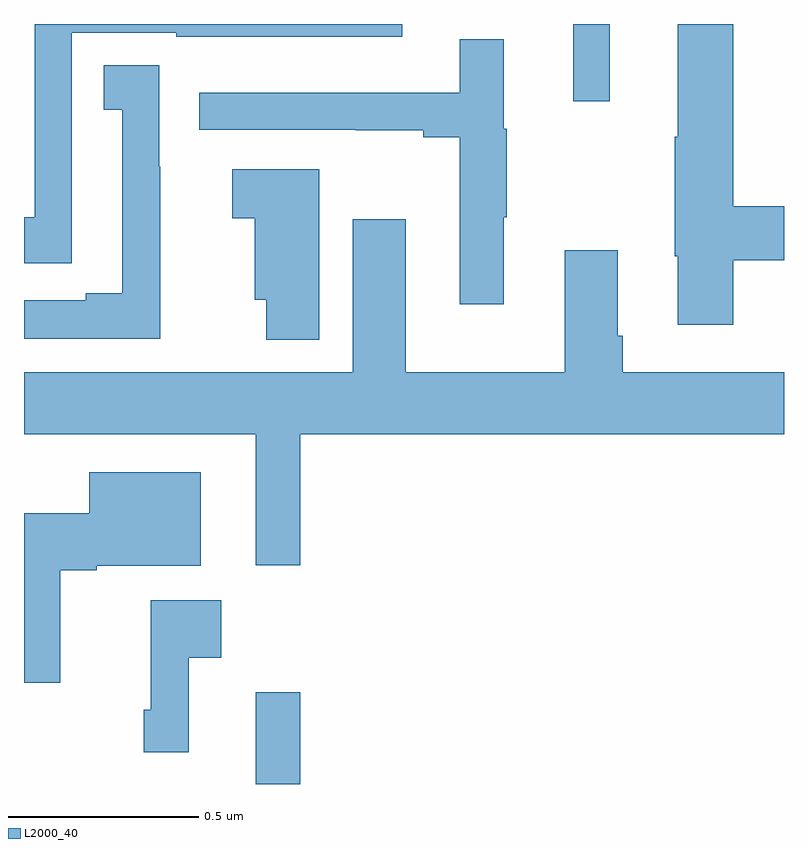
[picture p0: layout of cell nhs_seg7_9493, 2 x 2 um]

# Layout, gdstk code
import gdstk
lib = gdstk.Library(unit=1e-6, precision=1e-09)
def R(c, l, rs):  # rectangles x0, y0, x1, y1
    for r in rs: c.add(gdstk.rectangle(r[:2], r[2:], *l))
def P(c, l, *ps):  # polygons
    for p in ps: c.add(gdstk.Polygon(p, *l))
L2000_40 = (2000, 40)

nhs_seg7_9493 = lib.new_cell('nhs_seg7_9493')
R(nhs_seg7_9493, L2000_40, [(238.61,1029,238.727,1029.241), (239.445,1030.797,239.542,1031)])
P(nhs_seg7_9493, L2000_40, [(239.867,1030.378),(240,1030.378),(240,1030.52),(239.867,1030.52),(239.867,1031),(239.72,1031),(239.72,1030.703),(239.713,1030.703),(239.713,1030.389),(239.72,1030.389),(239.72,1030.209),(239.867,1030.209)],
  [(238.126,1030.694),(238.125,1030.694),(238.125,1030.977),(238.401,1030.977),(238.401,1030.967),(238.996,1030.967),(238.996,1031),(238.028,1031),(238.028,1030.491),(238,1030.491),(238,1030.371),(238.126,1030.371)],
  [(239.263,1030.492),(239.271,1030.492),(239.271,1030.725),(239.263,1030.725),(239.263,1030.96),(239.147,1030.96),(239.147,1030.819),(238.461,1030.819),(238.461,1030.722),(238.873,1030.722),(238.873,1030.72),(239.051,1030.72),(239.051,1030.702),(239.147,1030.702),(239.147,1030.263),(239.263,1030.263)],
  [(238.359,1030.625),(238.356,1030.625),(238.356,1030.892),(238.21,1030.892),(238.21,1030.774),(238.259,1030.774),(238.259,1030.291),(238.163,1030.291),(238.163,1030.273),(238,1030.273),(238,1030.172),(238.359,1030.172)],
  [(238.777,1030.618),(238.548,1030.618),(238.548,1030.489),(238.607,1030.489),(238.607,1030.274),(238.637,1030.274),(238.637,1030.169),(238.777,1030.169)],
  [(238.727,1029.92),(240,1029.92),(240,1030.084),(239.576,1030.084),(239.576,1030.18),(239.563,1030.18),(239.563,1030.405),(239.423,1030.405),(239.423,1030.084),(239.005,1030.084),(239.005,1030.486),(238.865,1030.486),(238.865,1030.084),(238,1030.084),(238,1029.92),(238.61,1029.92),(238.61,1029.576),(238.727,1029.576)],
  [(238.096,1029.563),(238.192,1029.563),(238.192,1029.575),(238.465,1029.575),(238.465,1029.82),(238.172,1029.82),(238.172,1029.712),(238,1029.712),(238,1029.267),(238.096,1029.267)],
  [(238.433,1029.332),(238.519,1029.332),(238.519,1029.484),(238.333,1029.484),(238.333,1029.196),(238.315,1029.196),(238.315,1029.084),(238.433,1029.084)])

lib.write_gds('nhs_seg7_9493.gds')
